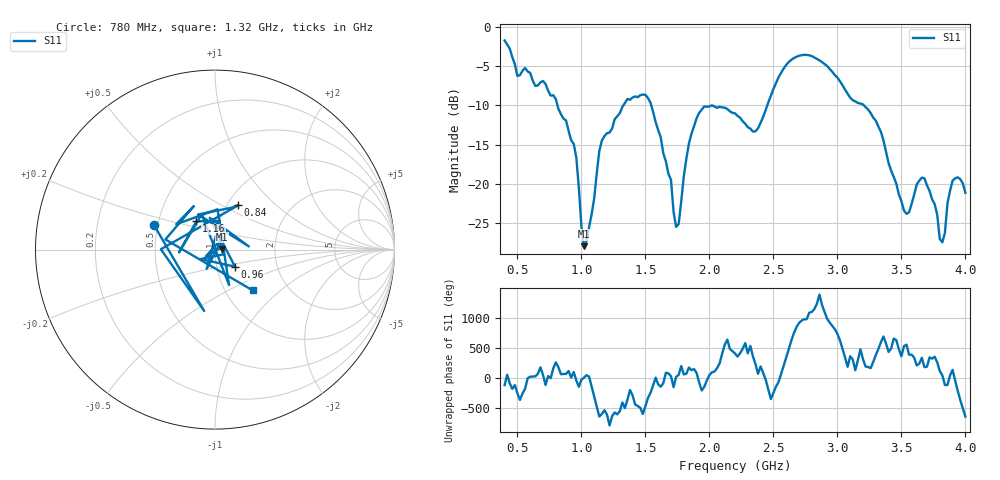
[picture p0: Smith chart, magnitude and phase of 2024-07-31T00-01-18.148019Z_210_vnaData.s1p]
!Created with skrf (http://scikit-rf.org).
# Hz S RI R 50.0
!freq ReS11 ImS11
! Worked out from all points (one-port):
!   181 points, 400 MHz to 4 GHz, reference 50 ohm
!   lowest |S11| = -28.0 dB at 1.02 GHz (marker M1), VSWR 1.08, Z = 54.1 + j0.429 ohm
!   |S11| at or under -10 dB: 813.3 MHz to 1.327 GHz (513.9 MHz wide, 48 % of centre); 1.546 GHz to 2.019 GHz (472.9 MHz wide, 26.5 % of centre); 3.207 GHz to end of sweep (the widest 3 of 4)
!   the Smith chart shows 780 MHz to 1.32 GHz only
!   S11 on the Smith chart (normalised r, x): 780 MHz: 0.48, +0.15; 840 MHz: 1.13, +0.60; 960 MHz: 1.23, -0.24; 1.16 GHz: 0.78, +0.25; 1.32 GHz: 1.34, -0.67
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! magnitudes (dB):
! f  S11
! 400 MHz  -1.7
! 500 MHz  -6.2
! 780 MHz  -8.7
! 840 MHz  -11.1
! 860 MHz  -11.7
! 960 MHz  -16.6
! 1.02 GHz  -28.0
! 1.08 GHz  -23.9
! 1.16 GHz  -14.5
! 1.3 GHz  -11.0
! 1.32 GHz  -10.2
! 1.54 GHz  -9.7
! 1.7 GHz  -19.5
! 1.74 GHz  -25.5
! 1.76 GHz  -25.2
! 1.84 GHz  -14.9
! 1.92 GHz  -10.9
! 2.2 GHz  -11.0
! 2.36 GHz  -13.3
! 2.66 GHz  -3.9
! 2.88 GHz  -4.5
! 3.1 GHz  -9.0
! 3.3 GHz  -11.9
! 3.56 GHz  -23.7
! 3.68 GHz  -19.3
! 3.82 GHz  -27.5
! 3.9 GHz  -19.6
! 4 GHz  -21.2
